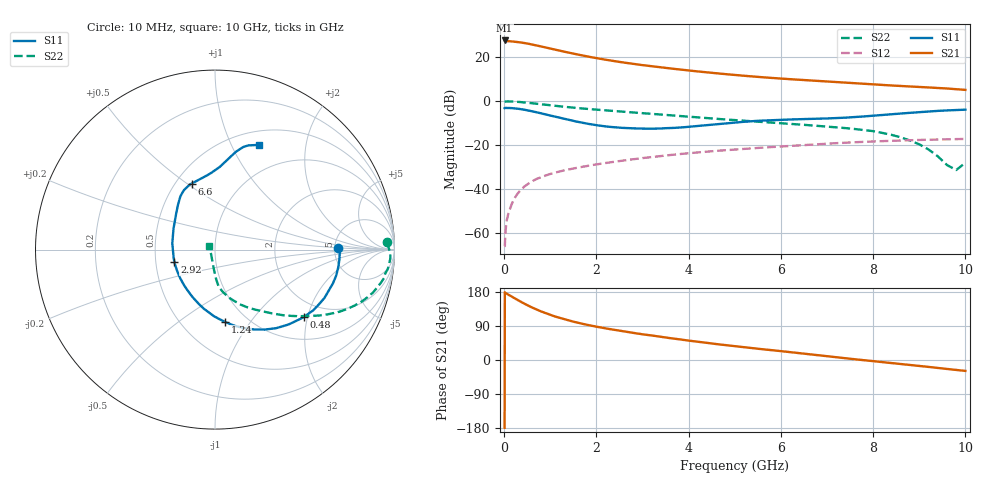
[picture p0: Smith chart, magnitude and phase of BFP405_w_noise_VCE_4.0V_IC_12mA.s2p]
! Infineon Technologies  Discrete & RF Semiconductors
! BFP405
! VCE =  4.0 V,  IC =  12 mA
! Common Emitter S-Parameters:  Jan 2016
# GHz  S  MA  R  50
!  f  S11  S21  S12  S22
! GHz  MAG  ANG  MAG  ANG  MAG  ANG  MAG  ANG
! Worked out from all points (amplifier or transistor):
!   233 points, 10 MHz to 10 GHz, reference 50 ohm
!   highest |S21| = 27.5 dB at 10 MHz (marker M1)
!   |S21| within 3 dB of that: start of sweep to 859.3 MHz
!   unconditionally stable (mu >= 1): start of sweep to 22.63 MHz; 2.5 GHz to end of sweep
!   at 200 MHz: K = 0.24, MSG = 36.1 dB, |S12| = -45.2 dB
!   at 1.74 GHz: K = 0.81, MSG = 25.1 dB, |S12| = -29.8 dB
!   at 10 GHz: K = 1.35, MAG = 7.6 dB, |S12| = -17.3 dB
!   lowest NFmin = 1.77 dB at 900 MHz
!   S11 on the Smith chart (normalised r, x): 10 MHz: 5.35, +0.22; 480 MHz: 1.55, -1.89; 1.24 GHz: 0.79, -0.76; 2.92 GHz: 0.63, -0.09; 6.6 GHz: 0.60, +0.52; 10 GHz: 0.66, +1.29
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0.01  0.6854 0.9  23.75 -179.0  0.0005 16.4  0.9601 2.4
0.02  0.6955 -0.8  23.39 176.9  0.0007 81.7  0.9678 0.4
0.08  0.6946 -6.2  22.93 173.2  0.0025 77.3  0.9774 -2.1
0.24  0.6752 -19.3  22.27 161.9  0.0065 78.4  0.9589 -7.8
0.4  0.6439 -31.6  21.12 151.1  0.0104 74.7  0.9343 -12.4
0.48  0.6202 -37.2  20.41 146.1  0.0123 73.0  0.9173 -14.5
0.6  0.5849 -45.5  19.27 138.8  0.0148 70.6  0.8897 -17.4
0.8  0.5242 -58.2  17.38 128.2  0.0185 67.0  0.842 -21.5
1  0.4666 -69.6  15.56 119.0  0.0219 64.4  0.7973 -24.9
1.24  0.4056 -82.3  13.65 109.8  0.0255 62.2  0.749 -28.2
1.48  0.3557 -94.6  12.03 101.8  0.0289 60.6  0.7073 -30.9
1.68  0.3229 -104.3  10.91 96.1  0.0316 59.4  0.6769 -32.9
2.2  0.2644 -129.9  8.667 83.4  0.0388 57.0  0.6117 -37.3
2.92  0.2362 -163.4  6.701 69.3  0.0491 53.3  0.5377 -43.0
3.4  0.237 175.9  5.806 61.1  0.0561 50.3  0.4917 -46.8
4  0.2588 153.3  4.929 51.0  0.0649 46.3  0.4389 -51.9
5.1  0.3307 127.9  3.816 35.1  0.0802 38.2  0.3608 -61.7
6.6  0.3902 109.4  2.941 15.4  0.1012 27.0  0.2817 -73.2
6.8  0.3946 106.0  2.849 12.7  0.1041 25.4  0.2715 -74.6
8.4  0.4995 82.6  2.249 -8.1  0.1242 11.0  0.1695 -87.4
9.8  0.6212 69.6  1.852 -26.1  0.1358 -0.7  0.0269 -174.6
10  0.6341 67.0  1.787 -28.8  0.1372 -2.2  0.0393 144.7
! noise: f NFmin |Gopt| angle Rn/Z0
0.9  1.77  0.15  3  0.32
1.8  2.01  0.1  -12  0.29
2.4  2.13  0.09  -14  0.31
3  2.17  0.05  -9  0.29
4  2.32  0.08  -88  0.29
5  2.7  0.15  -96  0.31
